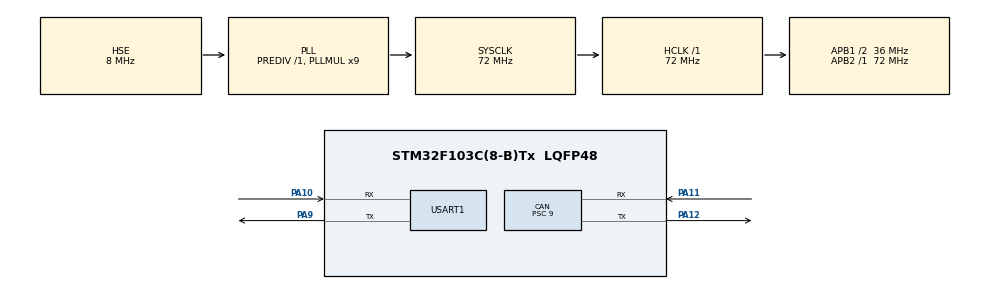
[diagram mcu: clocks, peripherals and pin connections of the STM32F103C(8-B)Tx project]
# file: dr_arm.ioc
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CAN.ABOM=DISABLE
CAN.AWUM=DISABLE
CAN.BS1=CAN_BS1_13TQ
CAN.BS2=CAN_BS2_2TQ
CAN.CalculateBaudRate=250000
CAN.CalculateTimeBit=4000
CAN.CalculateTimeQuantum=250.0
CAN.NART=ENABLE
CAN.Prescaler=9
CAN.SJW=CAN_SJW_1TQ
Dma.Request0=USART1_RX
Dma.Request1=USART1_TX
Dma.USART1_RX.0.Direction=DMA_PERIPH_TO_MEMORY
Dma.USART1_RX.0.Instance=DMA1_Channel5
Dma.USART1_RX.0.MemDataAlignment=DMA_MDATAALIGN_BYTE
Dma.USART1_RX.0.MemInc=DMA_MINC_ENABLE
Dma.USART1_RX.0.Mode=DMA_CIRCULAR
Dma.USART1_RX.0.PeriphDataAlignment=DMA_PDATAALIGN_BYTE
Dma.USART1_RX.0.PeriphInc=DMA_PINC_DISABLE
Dma.USART1_RX.0.Priority=DMA_PRIORITY_LOW
Dma.USART1_TX.1.Direction=DMA_MEMORY_TO_PERIPH
Dma.USART1_TX.1.Instance=DMA1_Channel4
Dma.USART1_TX.1.MemDataAlignment=DMA_MDATAALIGN_BYTE
Dma.USART1_TX.1.MemInc=DMA_MINC_ENABLE
Dma.USART1_TX.1.Mode=DMA_CIRCULAR
Dma.USART1_TX.1.PeriphDataAlignment=DMA_PDATAALIGN_BYTE
Dma.USART1_TX.1.PeriphInc=DMA_PINC_DISABLE
Dma.USART1_TX.1.Priority=DMA_PRIORITY_LOW
Mcu.Family=STM32F1
Mcu.Name=STM32F103C(8-B)Tx
Mcu.Package=LQFP48
NVIC.CAN1_RX1_IRQn=true\:0\:0\:false\:false\:true\:true\:true\:true
NVIC.DMA1_Channel4_IRQn=true\:0\:0\:false\:false\:true\:false\:true\:true
NVIC.DMA1_Channel5_IRQn=true\:0\:0\:false\:false\:true\:false\:true\:true
NVIC.PriorityGroup=NVIC_PRIORITYGROUP_4
NVIC.TIM1_UP_IRQn=true\:1\:0\:true\:false\:true\:true\:true\:true
NVIC.TIM2_IRQn=true\:1\:0\:true\:false\:true\:true\:true\:true
NVIC.USART1_IRQn=true\:2\:0\:true\:false\:true\:true\:true\:true
NVIC.USB_LP_CAN1_RX0_IRQn=true\:0\:0\:false\:false\:true\:true\:true\:true
PA10.Mode=Asynchronous
PA10.Signal=USART1_RX
PA11.Mode=CAN_Activate
PA11.Signal=CAN_RX
PA12.Mode=CAN_Activate
PA12.Signal=CAN_TX
PA13.Mode=Serial_Wire
PA13.Signal=SYS_JTMS-SWDIO
PA14.Mode=Serial_Wire
PA14.Signal=SYS_JTCK-SWCLK
PA9.Mode=Asynchronous
PA9.Signal=USART1_TX
PD0-OSC_IN.Mode=HSE-External-Oscillator
PD0-OSC_IN.Signal=RCC_OSC_IN
PD1-OSC_OUT.Mode=HSE-External-Oscillator
PD1-OSC_OUT.Signal=RCC_OSC_OUT
ProjectManager.HeapSize=0x200
ProjectManager.StackSize=0x400
ProjectManager.TargetToolchain=MDK-ARM V5.32
RCC.AHBFreq_Value=72000000
RCC.APB1CLKDivider=RCC_HCLK_DIV2
RCC.APB1Freq_Value=36000000
RCC.APB1TimFreq_Value=72000000
RCC.APB2Freq_Value=72000000
RCC.APB2TimFreq_Value=72000000
RCC.HCLKFreq_Value=72000000
RCC.PLLMUL=RCC_PLL_MUL9
RCC.PLLSourceVirtual=RCC_PLLSOURCE_HSE
RCC.SYSCLKFreq_VALUE=72000000
RCC.SYSCLKSource=RCC_SYSCLKSOURCE_PLLCLK
RCC.USBFreq_Value=72000000
TIM1.Period=99
TIM1.Prescaler=719
TIM2.Period=99
TIM2.Prescaler=719
USART1.VirtualMode=VM_ASYNC
VP_TIM1_VS_ClockSourceINT.Mode=Internal
VP_TIM2_VS_ClockSourceINT.Mode=Internal
board=custom

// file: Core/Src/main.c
/* USER CODE BEGIN Header */
/**
  ******************************************************************************
  * @file           : main.c
  * @brief          : Main program body
  ******************************************************************************
  * @attention
  *
  * Copyright (c) 2026 STMicroelectronics.
  * All rights reserved.
  *
  * This software is licensed under terms that can be found in the LICENSE file
  * in the root directory of this software component.
  * If no LICENSE file comes with this software, it is provided AS-IS.
  *
  ******************************************************************************
  */
/* USER CODE END Header */
#include "main.h"
#include "can.h"
#include "dma.h"
#include "tim.h"
#include "usart.h"
#include "gpio.h"

/* USER CODE BEGIN Includes */
#include "bspcan.h"
#include "ALLinit.h"
#include "DrMotor.h"
#include "pid.h"
#include "VOFA.h"
#include "ref_traj.h"
#include <math.h>
/* USER CODE END Includes */

/* USER CODE BEGIN PD */
/* Ts = 1ms, alpha = 0.8 -> tau = Ts*(1-alpha)/alpha = 0.00025 */
#define TAU_ALPHA_08  0.00025f
#define OFFLINE_THRESHOLD  50   /* 连续 50 次无回复判定离线 (50×2ms=100ms) */
/* USER CODE END PD */

/* USER CODE BEGIN PV */
#define MOTOR_COUNT 2
float target[MOTOR_COUNT] = {0};              /* 全局目标角度 (°), 每个电机独立 */
PID_TypeDef pid_pos[MOTOR_COUNT];             /* 外环: 位置 → 速度指令 (r/min), 每个电机独立 */
PID_TypeDef pid_vel[MOTOR_COUNT];             /* 内环: 速度 → 力矩指令 (Nm), 每个电机独立 */
uint8_t motor_id_list[MOTOR_COUNT] = {2, 3};  /* 电机 ID 列表 */
uint16_t motor_offline_cnt[MOTOR_COUNT] = {0};  /* 各电机连续无回复计数 */
uint32_t prev_reply_error[MOTOR_COUNT] = {0}; /* 上一拍 reply_state_error 快照 */

extern volatile int8_t READ_FLAG;  /* DrMotor.c:38, reply_state 后 =1 成功 / =-1 超时 */
/* USER CODE END PV */

void SystemClock_Config(void);

int main(void)
{

  /* MCU Configuration--------------------------------------------------------*/

  /* Reset of all peripherals, Initializes the Flash interface and the Systick. */
  HAL_Init();

  /* Configure the system clock */
  SystemClock_Config();

  /* Initialize all configured peripherals */
  MX_GPIO_Init();
  MX_DMA_Init();
  MX_CAN_Init();
  MX_TIM1_Init();
  MX_TIM2_Init();
  MX_USART1_UART_Init();
  /* USER CODE BEGIN 2 */
  User_Init();

  /* ── 2 电机双环 PID 初始化 ──
   *
   *  PID 参数默认 0 (Kp=Ki=Kd=0)，限幅和滤波与原有配置一致。
   *  外环 (位置): tau_sp=0(不滤波), tau_d=TAU_ALPHA_08(α=0.8), out=±3600 r/min
   *  内环 (速度): tau_sp=TAU_ALPHA_08(α=0.8), tau_d=0(不滤波), out=±3600 Nm
   */

  /* ── 电机 2 (idx=0) ── */
  PID_Init(&pid_pos[0], 4.2f, 0.0f, 0.0f, 0.001f,
           0.0f, TAU_ALPHA_08, 3600.0f, -3600.0f);
  PID_Init(&pid_vel[0], 3.0f, 0.0f, 0.001f, 0.001f,
           TAU_ALPHA_08, 0.0f, 3600.0f, -3600.0f);

  /* ── 电机 3 (idx=1) ── */
  PID_Init(&pid_pos[1], 4.2f, 0.0f, 0.035f, 0.001f,
           0.0f, TAU_ALPHA_08, 3600.0f, -3600.0f);
  PID_Init(&pid_vel[1], 4.0f, 0.0f, 0.043f, 0.001f,
           TAU_ALPHA_08, 0.0f, 3600.0f, -3600.0f);

  /* USER CODE END 2 */

  /* Infinite loop */
  while (1)
  {

    /* USER CODE BEGIN 3 */

    if (motor_update_flag)
    {
        motor_update_flag = 0;
        float t = (float)globe_time_ms * 0.001f; /* 秒 */

        /* TDM 轮询: 每 1ms 只控一个电机, 2ms 一轮 (电机 2/3) */
        uint8_t idx  = globe_time_ms % MOTOR_COUNT;
        uint8_t id   = motor_id_list[idx];
        uint8_t sidx = id - 1;  /* motor_state 索引 */

       /* ── 参考轨迹: 关节1→电机2(相移+15°), 关节2→电机3 (按需计算) ── */
        target[idx] = ref_traj_get_angle(idx + 1, t);
        if (idx == 0) target[idx] += 15.0f;  /* 电机2 相移 +15° */

        /* ── 串级 PID ── */
        float vel_cmd    = PID_Update(&pid_pos[idx], target[idx], motor_state[sidx][0]);
        float torque_cmd = PID_Update(&pid_vel[idx], vel_cmd, motor_state[sidx][1]);

        set_torque(id, torque_cmd, 0.0f, 1);

        /* ── 电机离线保护 ──
         * reply_state_error 只在 reply_state() 超时/ID不匹配时 +1.
         * 此变量全局共享; 用 prev_reply_error[idx] 快照隔离各电机. */
        {
            extern uint32_t reply_state_error;  /* DrMotor.c:46 */
            if (reply_state_error != prev_reply_error[idx]) {
                /* 本轮 reply_state 失败了 */
                if (++motor_offline_cnt[idx] >= OFFLINE_THRESHOLD) {
                    target[idx] = 0.0f;
                    PID_Reset(&pid_pos[idx]);
                    PID_Reset(&pid_vel[idx]);
                }
                prev_reply_error[idx] = reply_state_error;
            } else {
                motor_offline_cnt[idx] = 0;
                prev_reply_error[idx] = reply_state_error;  /* 保持同步 */
            }
        }

        VOFA_justfloat(motor_state[1][0], target[0],
                       motor_state[2][0], target[1],
                       0, 0, 0, 0, 0, 0);
    }
  }
  /* USER CODE END 3 */
}

void SystemClock_Config(void)
{
  RCC_OscInitTypeDef RCC_OscInitStruct = {0};
  RCC_ClkInitTypeDef RCC_ClkInitStruct = {0};

  /** Initializes the RCC Oscillators according to the specified parameters
  * in the RCC_OscInitTypeDef structure.
  */
  RCC_OscInitStruct.OscillatorType = RCC_OSCILLATORTYPE_HSE;
  RCC_OscInitStruct.HSEState = RCC_HSE_ON;
  RCC_OscInitStruct.HSEPredivValue = RCC_HSE_PREDIV_DIV1;
  RCC_OscInitStruct.HSIState = RCC_HSI_ON;
  RCC_OscInitStruct.PLL.PLLState = RCC_PLL_ON;
  RCC_OscInitStruct.PLL.PLLSource = RCC_PLLSOURCE_HSE;
  RCC_OscInitStruct.PLL.PLLMUL = RCC_PLL_MUL9;
  if (HAL_RCC_OscConfig(&RCC_OscInitStruct) != HAL_OK)
  {
    Error_Handler();
  }

  /** Initializes the CPU, AHB and APB buses clocks
  */
  RCC_ClkInitStruct.ClockType = RCC_CLOCKTYPE_HCLK|RCC_CLOCKTYPE_SYSCLK
                              |RCC_CLOCKTYPE_PCLK1|RCC_CLOCKTYPE_PCLK2;
  RCC_ClkInitStruct.SYSCLKSource = RCC_SYSCLKSOURCE_PLLCLK;
  RCC_ClkInitStruct.AHBCLKDivider = RCC_SYSCLK_DIV1;
  RCC_ClkInitStruct.APB1CLKDivider = RCC_HCLK_DIV2;
  RCC_ClkInitStruct.APB2CLKDivider = RCC_HCLK_DIV1;

  if (HAL_RCC_ClockConfig(&RCC_ClkInitStruct, FLASH_LATENCY_2) != HAL_OK)
  {
    Error_Handler();
  }
}

void Error_Handler(void)
{
  __disable_irq();
  while (1)
  {
  }
}
